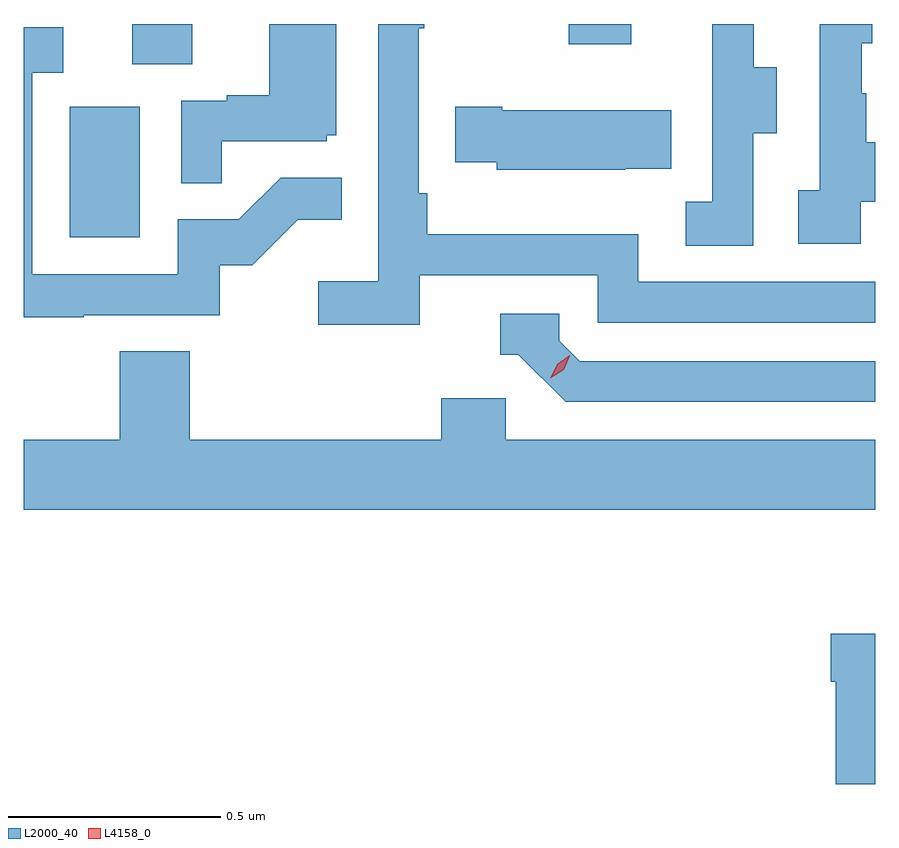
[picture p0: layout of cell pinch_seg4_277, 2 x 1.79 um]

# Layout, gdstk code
import gdstk
lib = gdstk.Library(unit=1e-6, precision=1e-09)
def R(c, l, rs):  # rectangles x0, y0, x1, y1
    for r in rs: c.add(gdstk.rectangle(r[:2], r[2:], *l))
def P(c, l, *ps):  # polygons
    for p in ps: c.add(gdstk.Polygon(p, *l))
L2000_40 = (2000, 40)
L4158_0 = (4158, 0)

pinch_seg4_277 = lib.new_cell('pinch_seg4_277')
R(pinch_seg4_277, L2000_40, [(937.214,816.108,937.378,816.415), (937.361,816.514,937.501,816.609), (938.386,816.561,938.533,816.609)])
P(pinch_seg4_277, L2000_40, [(938.036,816.018),(938.454,816.018),(938.454,815.907),(939.106,815.907),(939.106,816.003),(938.55,816.003),(938.55,816.115),(938.054,816.115),(938.054,816.211),(938.034,816.211),(938.034,816.599),(938.047,816.599),(938.047,816.609),(937.938,816.609),(937.938,816.004),(937.797,816.004),(937.797,815.902),(938.036,815.902)],
  [(937.571,816.333),(937.818,816.333),(937.818,816.348),(937.84,816.348),(937.84,816.609),(937.682,816.609),(937.682,816.442),(937.583,816.442),(937.583,816.429),(937.476,816.429),(937.476,816.235),(937.571,816.235)],
  [(938.82,816.352),(938.875,816.352),(938.875,816.507),(938.821,816.507),(938.821,816.609),(938.723,816.609),(938.723,816.495),(938.724,816.495),(938.724,816.191),(938.661,816.191),(938.661,816.088),(938.82,816.088)],
  [(939.072,816.191),(939.106,816.191),(939.106,816.331),(939.085,816.331),(939.085,816.446),(939.075,816.446),(939.075,816.564),(939.1,816.564),(939.1,816.609),(938.976,816.609),(938.976,816.218),(938.925,816.218),(938.925,816.093),(939.072,816.093)],
  [(937.247,815.925),(937.566,815.925),(937.566,816.042),(937.642,816.042),(937.749,816.149),(937.853,816.149),(937.853,816.248),(937.709,816.248),(937.611,816.15),(937.467,816.15),(937.467,816.021),(937.125,816.021),(937.125,816.495),(937.198,816.495),(937.198,816.601),(937.106,816.601),(937.106,815.92),(937.247,815.92)],
  [(938.519,816.269),(938.627,816.269),(938.627,816.406),(938.23,816.406),(938.23,816.414),(938.119,816.414),(938.119,816.284),(938.217,816.284),(938.217,816.266),(938.519,816.266)],
  [(939.106,815.817),(938.412,815.817),(938.364,815.865),(938.364,815.928),(938.225,815.928),(938.225,815.832),(938.268,815.832),(938.379,815.721),(939.106,815.721)],
  [(939.106,815.632),(938.238,815.632),(938.238,815.73),(938.087,815.73),(938.087,815.632),(937.496,815.632),(937.496,815.84),(937.331,815.84),(937.331,815.632),(937.106,815.632),(937.106,815.468),(939.106,815.468)],
  [(939.106,815.176),(939.002,815.176),(939.002,815.063),(939.014,815.063),(939.014,814.823),(939.106,814.823)])
P(pinch_seg4_277, L4158_0, [(938.343,815.777),(938.343,815.777),(938.359,815.81),(938.389,815.83),(938.389,815.83),(938.389,815.829),(938.374,815.797),(938.343,815.777)])

lib.write_gds('pinch_seg4_277.gds')
